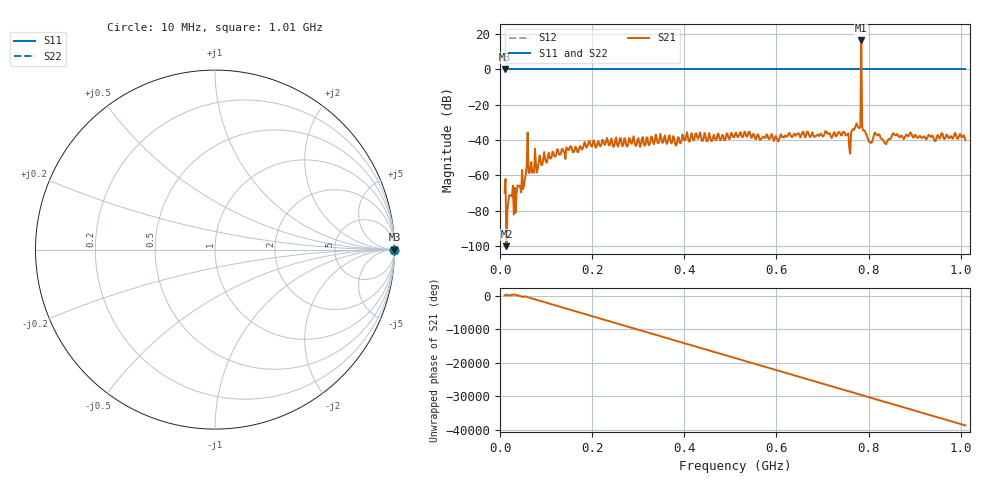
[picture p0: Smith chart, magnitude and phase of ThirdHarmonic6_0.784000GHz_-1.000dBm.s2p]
! 8/16/2025 2:10:33 AM
! C:\ANRITSUVNA\TEMP\TEMP.S2P
! CHANNEL.1
! TR.MEASUREMENT
! RAW.DATA
! RF.CORRECTION.OFF
! AVERAGING.OFF
! IF.BANDWIDTH: 5KHZ
! SWEEPTYPE:  FREQ.SWEEP(Linear)
! Reference Plane Port Info
! PORT:  PORT1  PORT2
! DISTANCE:  0  m  0  m
! TIME:  0  s  0  s
! PHASE.OFFSET:  0  deg.  0  deg.
! LOSS:  0  dB  0  dB
! REF.LOSS:  0  dB  0  dB
! REF.FREQ:  0  Hz  0  Hz
! Power Info
! POWER:  -20  dBm  -20  dBm
! EFF.POWER:  -20  dBm  -20  dBm
! SOURCE.ATTEN:  0  dB  0  dB
! TEST.ATTEN:  0  dB  0  dB
# GHZ S RI R 50.0
! FREQ.GHZ  S11RE  S11IM  S21RE  S21IM  S12RE  S12IM  S22RE  S22IM
!; PortSelection: Port_12
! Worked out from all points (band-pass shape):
!   501 points, 10 MHz to 1.01 GHz, reference 50 ohm
!   highest |S21| = 16.18 dB at 784 MHz (marker M1); lowest = -99.9 dB at 14 MHz (marker M2)
!   |S21| within 3 dB of the highest: 783.8774 MHz to 784.1242 MHz (246.8 kHz wide, 0.0315 % of centre)
!   lowest |S11| = 0.0 dB at 10 MHz (marker M3)
!   |S11| at or under -10 dB: nowhere
!   |S22| runs from 0.0 to 0.0 dB; largest |S21 - S12| = 6.3
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0.01  1 0  -0.000326 4.44e-05  1 0  1 0
0.014  1 0  -9.4e-06 -3.8e-06  1 0  1 0
0.034  1 0  -2.67e-05 -8.53e-05  1 0  1 0
0.054  1 0  -0.000334 0.000724  1 0  1 0
0.056  1 0  -0.000839 0.000732  1 0  1 0
0.062  1 0  -0.000982 -0.000668  1 0  1 0
0.07  1 0  -0.000973 -0.000692  1 0  1 0
0.178  1 0  -0.0053 -0.000614  1 0  1 0
0.344  1 0  0.00764 -0.00293  1 0  1 0
0.51  1 0  -0.012 0.00763  1 0  1 0
0.678  1 0  -0.0135 -0.00962  1 0  1 0
0.748  1 0  0.00126 -0.0162  1 0  1 0
0.756  1 0  0.0118 -0.00968  1 0  1 0
0.778  1 0  -0.0156 0.0155  1 0  1 0
0.78  1 0  0.0112 0.0186  1 0  1 0
0.784  1 0  1.572 -6.243  1 0  1 0
0.788  1 0  0.00557 0.0179  1 0  1 0
0.79  1 0  0.0184 -0.00159  1 0  1 0
0.804  1 0  -0.00846 0.0022  1 0  1 0
0.816  1 0  0.00957 0.0112  1 0  1 0
0.844  1 0  0.0101 0.00397  1 0  1 0
1.01  1 0  -0.00985 0.00119  1 0  1 0
